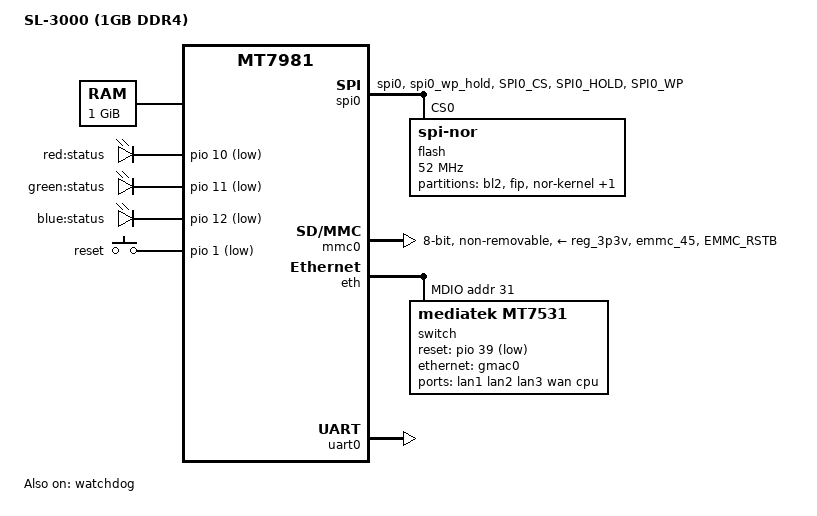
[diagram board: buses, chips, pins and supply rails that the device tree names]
/dts-v1/;
#include "mt7981.dtsi"
#include <dt-bindings/gpio/gpio.h>
#include <dt-bindings/input/input.h>
#include <dt-bindings/leds/common.h>

/ {
	model = "SL-3000 (1GB DDR4)";
	compatible = "sl,3000-emmc", "mediatek,mt7981";

	aliases {
		serial0 = &uart0;
		led-boot = &status_green_led;
		led-failsafe = &status_red_led;
		led-running = &status_green_led;
		led-upgrade = &status_blue_led;
		label-mac-device = &gmac0;
	};

	chosen {
		stdout-path = "serial0:115200n8";
		/* 默认从 eMMC 的 production 分区启动，U-Boot 可覆盖 */
		bootargs = "console=ttyS0,115200n1 loglevel=8 earlycon=uart8250,mmio32,0x11002000 root=PARTLABEL=production rootwait rw rootfstype=f2fs,squashfs,ext4";
	};

	/* 1GB DDR4 内存 */
	memory@40000000 {
		device_type = "memory";
		reg = <0 0x40000000 0 0x40000000>;
	};

	leds {
		compatible = "gpio-leds";

		status_red_led: status-red {
			label = "red:status";
			gpios = <&pio 10 GPIO_ACTIVE_LOW>;
		};

		status_green_led: status-green {
			label = "green:status";
			gpios = <&pio 11 GPIO_ACTIVE_LOW>;
			linux,default-trigger = "heartbeat";
		};

		status_blue_led: status-blue {
			label = "blue:status";
			gpios = <&pio 12 GPIO_ACTIVE_LOW>;
		};
	};

	keys {
		compatible = "gpio-keys";

		reset {
			label = "reset";
			linux,code = <KEY_RESTART>;
			gpios = <&pio 1 GPIO_ACTIVE_LOW>;
			debounce-interval = <60>;
		};
	};
};

/* SPI-NOR 闪存分区布局（与救砖镜像对齐） */
&spi0 {
	pinctrl-names = "default";
	pinctrl-0 = <&spi0_flash_pins>;
	status = "okay";

	flash@0 {
		compatible = "jedec,spi-nor";
		reg = <0>;
		spi-max-frequency = <52000000>;

		partitions {
			compatible = "fixed-partitions";
			#address-cells = <1>;
			#size-cells = <1>;

			partition@0 {
				label = "bl2";
				reg = <0x0 0x100000>;
				read-only;
			};

			partition@100000 {
				label = "fip";
				reg = <0x100000 0x100000>;
				read-only;
			};

			partition@200000 {
				label = "nor-kernel";
				reg = <0x200000 0x800000>;
			};

			partition@a00000 {
				label = "nor-rootfs";
				reg = <0xa00000 0x1600000>;
			};
		};
	};
};

/* eMMC 链路：物理对齐 128G 存储 */
&mmc0 {
	status = "okay";
	pinctrl-names = "default", "state_uhs";
	pinctrl-0 = <&mmc0_pins_default>;
	pinctrl-1 = <&mmc0_pins_uhs>;
	bus-width = <8>;
	max-frequency = <52000000>;
	cap-mmc-highspeed;
	cap-mmc-hw-reset;
	vmmc-supply = <&reg_3p3v>;
	vqmmc-supply = <&reg_1p8v>;
	non-removable;
	no-sd;
	no-sdio;
};

/* 网络物理链路：MT7531 交换机 + 2.5G 上联 */
&eth {
	status = "okay";

	gmac0: mac@0 {
		compatible = "mediatek,eth-mac";
		reg = <0>;
		phy-mode = "2500base-x";
		fixed-link {
			speed = <2500>;
			full-duplex;
			pause;
		};
	};

	mdio: mdio-bus {
		#address-cells = <1>;
		#size-cells = <0>;

		switch@0 {
			compatible = "mediatek,mt7531";
			reg = <31>;
			reset-gpios = <&pio 39 GPIO_ACTIVE_LOW>;
			reset-delay-us = <10000>;

			ports {
				#address-cells = <1>;
				#size-cells = <0>;

				port@0 { reg = <0>; label = "lan1"; };
				port@1 { reg = <1>; label = "lan2"; };
				port@2 { reg = <2>; label = "lan3"; };
				port@3 { reg = <3>; label = "wan"; };

				port@6 {
					reg = <6>;
					label = "cpu";
					ethernet = <&gmac0>;
					phy-mode = "2500base-x";
					fixed-link {
						speed = <2500>;
						full-duplex;
						pause;
					};
				};
			};
		};
	};
};

&pio {
	spi0_flash_pins: spi0-pins {
		mux {
			function = "spi";
			groups = "spi0", "spi0_wp_hold";
		};
		conf-pu {
			pins = "SPI0_CS", "SPI0_HOLD", "SPI0_WP";
			bias-pull-up;
		};
	};

	mmc0_pins_default: mmc0-pins-default {
		mux {
			function = "flash";
			groups = "emmc_45";
		};
		conf-pu {
			pins = "EMMC_RSTB";
			bias-pull-up;
		};
	};

	mmc0_pins_uhs: mmc0-pins-uhs {
		mux {
			function = "flash";
			groups = "emmc_45";
		};
	};
};

&uart0 { status = "okay"; };
&watchdog { status = "okay"; };

&reg_1p8v { status = "okay"; };
&reg_3p3v { status = "okay"; };
